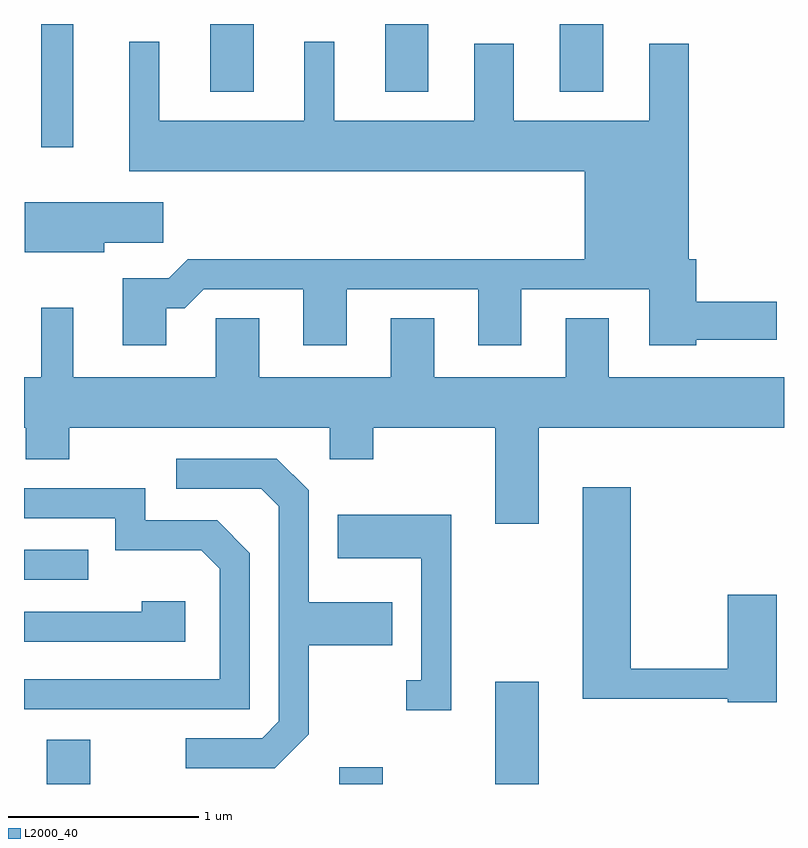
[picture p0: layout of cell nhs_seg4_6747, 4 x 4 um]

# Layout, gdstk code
import gdstk
lib = gdstk.Library(unit=1e-6, precision=1e-09)
def R(c, l, rs):  # rectangles x0, y0, x1, y1
    for r in rs: c.add(gdstk.rectangle(r[:2], r[2:], *l))
def A(c, l, x, y, w, h, nx, ny, dx, dy):  # array of equal rectangles
    R(c, l, [(x+i*dx, y+j*dy, x+i*dx+w, y+j*dy+h) for i in range(nx) for j in range(ny)])
def P(c, l, *ps):  # polygons
    for p in ps: c.add(gdstk.Polygon(p, *l))
L2000_40 = (2000, 40)

nhs_seg4_6747 = lib.new_cell('nhs_seg4_6747')
A(nhs_seg4_6747, L2000_40, 384.591, 1287.626, 0.228, 0.356, 3, 1, 0.92, 0)
R(nhs_seg4_6747, L2000_40, [(383.731,1283.982,383.959,1284.214), (385.271,1283.982,385.499,1284.069), (386.091,1283.982,386.319,1284.519), (383.611,1285.056,383.948,1285.214), (383.701,1287.333,383.869,1287.982)])
P(nhs_seg4_6747, L2000_40, [(384.359,1286.486),(384.457,1286.486),(384.557,1286.586),(385.081,1286.586),(385.081,1286.291),(385.309,1286.291),(385.309,1286.586),(386.001,1286.586),(386.001,1286.291),(386.229,1286.291),(386.229,1286.586),(386.901,1286.586),(386.901,1286.291),(387.149,1286.291),(387.149,1286.321),(387.574,1286.321),(387.574,1286.519),(387.149,1286.519),(387.149,1286.744),(387.109,1286.744),(387.109,1287.879),(386.901,1287.879),(386.901,1287.474),(386.189,1287.474),(386.189,1287.879),(385.981,1287.879),(385.981,1287.474),(385.244,1287.474),(385.244,1287.888),(385.086,1287.888),(385.086,1287.474),(384.324,1287.474),(384.324,1287.888),(384.166,1287.888),(384.166,1287.206),(386.561,1287.206),(386.561,1286.744),(384.474,1286.744),(384.374,1286.644),(384.131,1286.644),(384.131,1286.291),(384.359,1286.291)],
  [(384.034,1286.831),(384.344,1286.831),(384.344,1287.044),(383.616,1287.044),(383.616,1286.781),(384.034,1286.781)],
  [(386.319,1285.856),(387.611,1285.856),(387.611,1286.124),(386.689,1286.124),(386.689,1286.434),(386.461,1286.434),(386.461,1286.124),(385.769,1286.124),(385.769,1286.434),(385.541,1286.434),(385.541,1286.124),(384.849,1286.124),(384.849,1286.434),(384.621,1286.434),(384.621,1286.124),(383.869,1286.124),(383.869,1286.488),(383.701,1286.488),(383.701,1286.124),(383.611,1286.124),(383.611,1285.856),(383.621,1285.856),(383.621,1285.691),(383.849,1285.691),(383.849,1285.856),(385.221,1285.856),(385.221,1285.691),(385.449,1285.691),(385.449,1285.856),(386.091,1285.856),(386.091,1285.351),(386.319,1285.351)],
  [(385.109,1284.244),(385.109,1284.711),(385.549,1284.711),(385.549,1284.939),(385.109,1284.939),(385.109,1285.527),(384.942,1285.694),(384.413,1285.694),(384.413,1285.536),(384.859,1285.536),(384.951,1285.444),(384.951,1284.312),(384.864,1284.224),(384.463,1284.224),(384.463,1284.066),(384.932,1284.066)],
  [(387.574,1284.979),(387.316,1284.979),(387.316,1284.589),(386.804,1284.589),(386.804,1285.544),(386.551,1285.544),(386.551,1284.431),(387.316,1284.431),(387.316,1284.411),(387.574,1284.411)],
  [(384.799,1285.197),(384.627,1285.369),(384.249,1285.369),(384.249,1285.539),(383.611,1285.539),(383.611,1285.381),(384.091,1285.381),(384.091,1285.211),(384.544,1285.211),(384.641,1285.114),(384.641,1284.534),(383.611,1284.534),(383.611,1284.376),(384.799,1284.376)],
  [(385.859,1285.399),(385.261,1285.399),(385.261,1285.171),(385.701,1285.171),(385.701,1284.529),(385.623,1284.529),(385.623,1284.371),(385.859,1284.371)],
  [(384.459,1284.944),(384.231,1284.944),(384.231,1284.889),(383.611,1284.889),(383.611,1284.731),(384.459,1284.731)])

lib.write_gds('nhs_seg4_6747.gds')
